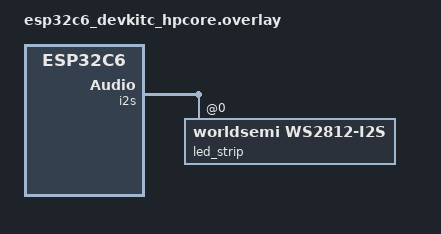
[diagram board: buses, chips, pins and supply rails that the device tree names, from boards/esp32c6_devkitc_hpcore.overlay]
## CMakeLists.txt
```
cmake_minimum_required(VERSION 3.20.0)

find_package(Zephyr REQUIRED HINTS $ENV{ZEPHYR_BASE})
project(korra)

# Produce compile_commands.json for IDE.
# This is produced in the build directory, e.g. `build-frdm_rw612/compile_commands.json`
set(CMAKE_EXPORT_COMPILE_COMMANDS ON)

add_subdirectory(src/credentials)
add_subdirectory(src/cloud)
add_subdirectory(src/events)
add_subdirectory(src/internet)
add_subdirectory(src/sensors)
add_subdirectory(src/time)
add_subdirectory(src/utils)

FILE(GLOB app_sources src/*.c)
target_sources(app PRIVATE ${app_sources})
```

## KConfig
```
mainmenu "Korra Firmware application"

choice
    prompt "Kind of application"

config APP_KIND_POT
    bool "pot"

config APP_KIND_KEEPER
    bool "keeper"

endchoice

source "Kconfig.zephyr"
```

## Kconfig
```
mainmenu "Korra Firmware application"

choice
    prompt "Kind of application"

config APP_KIND_KEEPER
    bool "keeper"

config APP_KIND_POT
    bool "pot"

endchoice

config APP_NAME
    string
    default "Keeper" if APP_KIND_KEEPER
    default "Pot" if APP_KIND_POT

config DEVICE_CERTIFICATE_VALIDITY_YEARS
    int "Number of years the device certificate generated will be valid for"
    default 3

config AZURE_IOT_DPS_ID_SCOPE
    string "Azure IoT DPS ID Scope"
    default "0ne00F7ADA0"
    depends on BOARD_HAS_INTERNET

config SENSORS_READ_PERIOD_SECONDS
    int "Interval for collecting sensor data in seconds"
    default 300

config SNTP_SERVER_ADDRESS
    string "SNTP server address"
    default "uk.pool.ntp.org"
    depends on SNTP

config SNTP_SERVER_TIMEOUT_SECONDS
	int "Duration to wait for response in seconds"
	default 4
    depends on SNTP

config BOARD_HAS_CELLULAR
    bool "Whether to board has Cellular"
    default n
    select BOARD_HAS_INTERNET

config BOARD_HAS_ETHERNET
    bool "Whether to board has Ethernet"
    default n
    select BOARD_HAS_INTERNET
    select NET_ARP

config BOARD_HAS_WIFI
    bool "Whether to board has WiFi"
    default n
    select BOARD_HAS_INTERNET
    select WIFI
    select WIFI_ESP32 if SOC_FAMILY_ESPRESSIF_ESP32
    select WIFI_NRF70 if BOARD_NRF7002DK
    select WIFI_NXP if SOC_SERIES_RW6XX
    select NET_CONNECTION_MANAGER_CONNECTIVITY_WIFI_MGMT if !WIFI_NRF70

    # Not supporting WPA Supplicant because it is experimental (quite buggy)
    # # # TODO: remove these conditions once WPS_SUPPLICANT for ESP32 has been fixed
    # # https://github.com/zephyrproject-rtos/zephyr/issues/91757
    # select WIFI_NM_WPA_SUPPLICANT if !SOC_FAMILY_ESPRESSIF_ESP32
    # select WIFI_NM_WPA_SUPPLICANT_CRYPTO_ENTERPRISE if !SOC_FAMILY_ESPRESSIF_ESP32
    # select WIFI_NM_WPA_SUPPLICANT_ROAMING if !SOC_FAMILY_ESPRESSIF_ESP32
    # select WIFI_NM_WPA_SUPPLICANT_DPP if !SOC_FAMILY_ESPRESSIF_ESP32 && !BOARD_NRF7002DK
    # select WIFI_NM_WPA_SUPPLICANT_CRYPTO_MBEDTLS_PSA if !SOC_FAMILY_ESPRESSIF_ESP32 && !BOARD_NRF7002DK

config BOARD_HAS_INTERNET # Invisible because it has no prompt (no string after bool)
    bool
    select ENTROPY_GENERATOR
    select ENTROPY_ESP32_RNG if SOC_FAMILY_ESPRESSIF_ESP32
    select ENTROPY_MCUX_TRNG if SOC_SERIES_RW6XX
    # Entropy on nRF5340 is only available natively on cpunet but not cpu app
    # In cpuapp you have to use HCI to get random data which means selecting ENTROPY_BT_HCI
    # which requires BT_HCI_HOST or BT either of which bring in the whole Bluetooth stack!
    select TEST_RANDOM_GENERATOR if SOC_NRF5340_CPUAPP
    select ENTROPY_NRF5_RNG if SOC_SERIES_NRF54X
    select NET_CONNECTION_MANAGER
    select NETWORKING
    select NET_LOG # Network debug config
    select NET_L2_ETHERNET # Enable Ethernet (required for WiFi)
    select NET_IPV4
    select NET_IPV6
    select NET_SOCKETS
    select NET_SOCKETS_TLS
    select NET_SOCKETS_SOCKOPT_TLS
    select NET_TCP
    select NET_UDP
    select NET_DHCPV4 # Get IPv4 address from DHCP
    select NET_DHCPV6 # Get IPv6 address from DHCP
    select DNS_RESOLVER # Enable DNS resolver
    select SNTP
    select POSIX_API

if BOARD_HAS_WIFI
config WIFI_SCAN_NETWORKS
    bool "Whether to scan WiFi networks"
    default n

config WIFI_CREDENTIALS_STATIC_TYPE_EAP_PEAP_MSCHAPV2
    bool "EAP-PEAP-MSCHAPV2"
    depends on WIFI_NM_WPA_SUPPLICANT
    default n

config WIFI_CREDENTIALS_STATIC_EAP_ANON_ID
    string "Enterprise Identity (anonymous)"
    default "anonymous"

config WIFI_CREDENTIALS_STATIC_EAP_IDENTITY
    string "Enterprise Identity (Username)"

config WIFI_CREDENTIALS_STATIC_EAP_PASSWORD
    string "Enterprise Password"

endif # BOARD_HAS_WIFI

source "Kconfig.zephyr"
```

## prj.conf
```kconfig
CONFIG_INIT_STACKS=y
CONFIG_HWINFO=y

# CONFIG_WIFI_SCAN_NETWORKS=y

# Static WiFi credentials (OPEN)
CONFIG_WIFI_CREDENTIALS_STATIC=y
CONFIG_WIFI_CREDENTIALS_STATIC_TYPE_OPEN=y
CONFIG_WIFI_CREDENTIALS_STATIC_SSID="ASK4 Wireless"

# Static WiFi credentials (PSK)
# Shell: wifi connect -s "MaxwellsiPhone" -k 1 --passphrase "<password>"
# CONFIG_WIFI_CREDENTIALS_STATIC=y
# CONFIG_WIFI_CREDENTIALS_STATIC_TYPE_PSK=y
# CONFIG_WIFI_CREDENTIALS_STATIC_SSID="MaxwellsiPhone"
# CONFIG_WIFI_CREDENTIALS_STATIC_PASSWORD="<password>"

# Static WiFi credentials (WPA3-SAE-HNP)
# Shell: # wifi connect -s "Levi's S24" -k 3 -w 2 --passphrase "<password>"
# CONFIG_WIFI_CREDENTIALS_STATIC=y
# CONFIG_WIFI_CREDENTIALS_STATIC_TYPE_SAE=y
# CONFIG_WIFI_CREDENTIALS_STATIC_SSID="Levi's S24"
# CONFIG_WIFI_CREDENTIALS_STATIC_PASSWORD="<password>"

# Static WiFi credentials (EAP-PEAP-MSCHAPV2)
# Shell: wifi connect -s "eduroam" -k 12 -I "<username>@ljmu.ac.uk" -P "<password>" -a "anonymous" -V 0
# CONFIG_WIFI_CREDENTIALS_STATIC=y
# CONFIG_WIFI_CREDENTIALS_STATIC_TYPE_EAP_PEAP_MSCHAPV2=y
# CONFIG_WIFI_CREDENTIALS_STATIC_SSID="eduroam"
# CONFIG_WIFI_CREDENTIALS_STATIC_EAP_IDENTITY="<username>@ljmu.ac.uk"
# CONFIG_WIFI_CREDENTIALS_STATIC_EAP_PASSWORD="<password>"

# logging: https://docs.zephyrproject.org/latest/services/logging/index.html
CONFIG_LOG=y
# CONFIG_LOG_MODE_IMMEDIATE=y
CONFIG_LOG_TIMESTAMP_USE_REALTIME=y
CONFIG_LOG_PRINTK=n
CONFIG_LOG_BUFFER_SIZE=2048
CONFIG_LOG_PROCESS_THREAD_STACK_SIZE=1024

CONFIG_EVENTS=y

# Increase stack memory to avoid crashes (at least 6144 for enterprise WiFi)
CONFIG_MAIN_STACK_SIZE=6144
CONFIG_NET_MGMT_EVENT_STACK_SIZE=4096
CONFIG_SYSTEM_WORKQUEUE_STACK_SIZE=6144

# Custom DNS servers (don't want surprises from the network)
CONFIG_DNS_SERVER_IP_ADDRESSES=y
CONFIG_DNS_SERVER1="1.1.1.1" # Cloudflare IPv4
CONFIG_DNS_SERVER2="2606:4700:4700::1111" # Cloudflare IPv6
CONFIG_DNS_SERVER3="8.8.8.8" # Google IPv4
CONFIG_DNS_SERVER4="2001:4860:4860::8888" # Google IPv6

# Enable custom hostname
CONFIG_NET_HOSTNAME_ENABLE=y
CONFIG_NET_HOSTNAME_UNIQUE=y
CONFIG_NET_HOSTNAME="korra-"

# Router is needed when resolving using external DNS servers
CONFIG_NET_CONFIG_NEED_IPV6_ROUTER=n

# printing of scan results puts pressure on queues in new locking
# design in net_mgmt. So, use a higher timeout for a crowded
# environment.
CONFIG_NET_MGMT_EVENT_QUEUE_TIMEOUT=5000
CONFIG_NET_MGMT_EVENT_QUEUE_SIZE=16

# Encryption and TLS
# These MBEDTLS configs are automatically added when CONFIG_WIFI_NM_WPA_SUPPLICANT=y
# We cannot enable it globally yet because builds on some boards fail.
# Other times, we just want to disable it because it can be a bit buggy.
# This is why they are here.
# Copied from external/zephyr/modules/hostap/Kconfig
# from WIFI_NM_WPA_SUPPLICANT_CRYPTO_ALT
CONFIG_MBEDTLS=y
CONFIG_MBEDTLS_CIPHER_MODE_CTR_ENABLED=y
CONFIG_MBEDTLS_CIPHER_MODE_CBC_ENABLED=y
CONFIG_MBEDTLS_CIPHER_AES_ENABLED=y
CONFIG_MBEDTLS_CIPHER_DES_ENABLED=y
CONFIG_MBEDTLS_MD5=y
CONFIG_MBEDTLS_SHA1=y
CONFIG_MBEDTLS_SHA384=y
CONFIG_MBEDTLS_ENTROPY_C=y
CONFIG_MBEDTLS_CIPHER=y
CONFIG_MBEDTLS_ECP_C=y
CONFIG_MBEDTLS_ECP_ALL_ENABLED=y
CONFIG_MBEDTLS_CMAC=y
CONFIG_MBEDTLS_PKCS5_C=y
CONFIG_MBEDTLS_PK_WRITE_C=y
CONFIG_MBEDTLS_ECDH_C=y
CONFIG_MBEDTLS_ECDSA_C=y
CONFIG_MBEDTLS_KEY_EXCHANGE_ECDHE_PSK_ENABLED=y
CONFIG_MBEDTLS_RSA_C=y
CONFIG_MBEDTLS_PKCS1_V15=y
CONFIG_MBEDTLS_PKCS1_V21=y
CONFIG_MBEDTLS_KEY_EXCHANGE_ECDHE_RSA_ENABLED=y
CONFIG_MBEDTLS_NIST_KW_C=y
CONFIG_MBEDTLS_DHM_C=y
CONFIG_MBEDTLS_HKDF_C=y
# from WIFI_NM_WPA_SUPPLICANT_CRYPTO_MBEDTLS_PSA
CONFIG_MBEDTLS_PSA_CRYPTO_C=y
CONFIG_MBEDTLS_USE_PSA_CRYPTO=y
CONFIG_PSA_WANT_ALG_ECDH=y
CONFIG_PSA_WANT_ALG_HMAC=y
CONFIG_PSA_WANT_ALG_CCM=y
CONFIG_PSA_WANT_ALG_CTR=y
CONFIG_PSA_WANT_ALG_MD5=y
CONFIG_PSA_WANT_ALG_SHA_1=y
CONFIG_PSA_WANT_ALG_SHA_256=y
CONFIG_PSA_WANT_ALG_SHA_224=y
CONFIG_PSA_WANT_ALG_SHA_384=y
CONFIG_PSA_WANT_ALG_SHA_512=y
CONFIG_PSA_WANT_ALG_PBKDF2_HMAC=y
CONFIG_PSA_WANT_ALG_CMAC=y
CONFIG_PSA_WANT_ALG_PBKDF2_AES_CMAC_PRF_128=y
CONFIG_PSA_WANT_KEY_TYPE_AES=y
CONFIG_PSA_WANT_KEY_TYPE_ECC_PUBLIC_KEY=y
CONFIG_PSA_WANT_KEY_TYPE_RSA_PUBLIC_KEY=y
# from WIFI_NM_WPA_SUPPLICANT_CRYPTO_ENTERPRISE
CONFIG_MBEDTLS_PEM_CERTIFICATE_FORMAT=y
CONFIG_MBEDTLS_SERVER_NAME_INDICATION=y
CONFIG_MBEDTLS_X509_CRL_PARSE_C=y
CONFIG_MBEDTLS_TLS_VERSION_1_2=y
# from WIFI_NM_WPA_SUPPLICANT_DPP
CONFIG_MBEDTLS_X509_CSR_WRITE_C=y
CONFIG_MBEDTLS_X509_CSR_PARSE_C=y
# from WIFI_NM_WPA_SUPPLICANT_CRYPTO_ENTERPRISE (further in the page)
CONFIG_MBEDTLS_SSL_MAX_CONTENT_LEN=16384
# For TLS and X.509 processing MbedTLS needs large heap size and using separate heap
# for it gives us more control over the heap size.
CONFIG_MBEDTLS_ENABLE_HEAP=y
CONFIG_MBEDTLS_HEAP_SIZE=50000
# CONFIG_MBEDTLS_HEAP_SIZE=69952
# CONFIG_MBEDTLS_HEAP_SIZE=100000
# These are for supporting device certificate support
CONFIG_PSA_WANT_ALG_ECDSA=y
CONFIG_PSA_WANT_KEY_TYPE_ECC_KEY_PAIR_IMPORT=y
CONFIG_PSA_WANT_KEY_TYPE_ECC_KEY_PAIR_EXPORT=y
CONFIG_PSA_WANT_KEY_TYPE_ECC_KEY_PAIR_GENERATE=y
CONFIG_PSA_WANT_KEY_TYPE_ECC_KEY_PAIR_DERIVE=y
CONFIG_MBEDTLS_KEY_EXCHANGE_ECDHE_ECDSA_ENABLED=y
CONFIG_MBEDTLS_X509_CRT_WRITE_C=y
# These add support for TLSv1.3
CONFIG_MBEDTLS_TLS_VERSION_1_3=y
CONFIG_PSA_WANT_ALG_HKDF_EXTRACT=y
CONFIG_PSA_WANT_ALG_HKDF_EXPAND=y

# EAP frames are large bytes, so
# - for efficiency, we increase the data size
# - need higher packet counts as default packet size is 128
CONFIG_NET_BUF_DATA_SIZE=1744
CONFIG_NET_PKT_TX_COUNT=36
CONFIG_NET_PKT_RX_COUNT=36
CONFIG_NET_BUF_TX_COUNT=40
CONFIG_NET_BUF_RX_COUNT=40

CONFIG_FLASH=y
CONFIG_FLASH_MAP=y
CONFIG_SETTINGS=y
CONFIG_NVS=y # using NVS instead of ZMS because it does not work with ESP32 yet
CONFIG_SETTINGS_NVS=y

CONFIG_TLS_CREDENTIALS=y
# CONFIG_TLS_CREDENTIALS_BACKEND_PROTECTED_STORAGE=y
CONFIG_TLS_MAX_CREDENTIALS_NUMBER=10

CONFIG_WIFI_CREDENTIALS=y
CONFIG_WIFI_CREDENTIALS_CONNECT_STORED=y
CONFIG_WIFI_CREDENTIALS_MAX_ENTRIES=4

CONFIG_MQTT_LIB=y
CONFIG_MQTT_LIB_TLS=y

# CONFIG_FLASH_LOG_LEVEL_DBG=y
# CONFIG_FLASH_LOG_LEVEL_INF=y
CONFIG_FLASH_LOG_LEVEL_WRN=y
# CONFIG_FLASH_LOG_LEVEL_ERR=y

# CONFIG_SETTINGS_LOG_LEVEL_DBG=y
# CONFIG_SETTINGS_LOG_LEVEL_INF=y
CONFIG_SETTINGS_LOG_LEVEL_WRN=y
# CONFIG_SETTINGS_LOG_LEVEL_ERR=y

# CONFIG_NVS_LOG_LEVEL_DBG=y
# CONFIG_NVS_LOG_LEVEL_INF=y
CONFIG_NVS_LOG_LEVEL_WRN=y
# CONFIG_NVS_LOG_LEVEL_ERR=y

# CONFIG_WIFI_CREDENTIALS_LOG_LEVEL_DBG=y
# CONFIG_WIFI_CREDENTIALS_LOG_LEVEL_INF=y
CONFIG_WIFI_CREDENTIALS_LOG_LEVEL_WRN=y
# CONFIG_WIFI_CREDENTIALS_LOG_LEVEL_ERR=y

# CONFIG_TLS_CREDENTIALS_LOG_LEVEL_DBG=y
# CONFIG_TLS_CREDENTIALS_LOG_LEVEL_INF=y
CONFIG_TLS_CREDENTIALS_LOG_LEVEL_WRN=y
# CONFIG_TLS_CREDENTIALS_LOG_LEVEL_ERR=y

# CONFIG_WIFI_LOG_LEVEL_DBG=y
# CONFIG_WIFI_LOG_LEVEL_INF=y
CONFIG_WIFI_LOG_LEVEL_WRN=y
# CONFIG_WIFI_LOG_LEVEL_ERR=y

# CONFIG_NET_IF_LOG_LEVEL_DBG=y
# CONFIG_NET_IF_LOG_LEVEL_INF=y
CONFIG_NET_IF_LOG_LEVEL_WRN=y
# CONFIG_NET_IF_LOG_LEVEL_ERR=y

# CONFIG_NET_MGMT_EVENT_LOG_LEVEL_DBG=y
# CONFIG_NET_MGMT_EVENT_LOG_LEVEL_INF=y
CONFIG_NET_MGMT_EVENT_LOG_LEVEL_WRN=y
# CONFIG_NET_MGMT_EVENT_LOG_LEVEL_ERR=y

# CONFIG_NET_DHCPV6_LOG_LEVEL_DBG=y
# CONFIG_NET_DHCPV6_LOG_LEVEL_INF=y
CONFIG_NET_DHCPV6_LOG_LEVEL_WRN=y
# CONFIG_NET_DHCPV6_LOG_LEVEL_ERR=y

# CONFIG_NET_SOCKETS_LOG_LEVEL_DBG=y
# CONFIG_NET_SOCKETS_LOG_LEVEL_INF=y
CONFIG_NET_SOCKETS_LOG_LEVEL_WRN=y
# CONFIG_NET_SOCKETS_LOG_LEVEL_ERR=y

# CONFIG_DNS_RESOLVER_LOG_LEVEL_DBG=y
# CONFIG_DNS_RESOLVER_LOG_LEVEL_INF=y
CONFIG_DNS_RESOLVER_LOG_LEVEL_WRN=y
# CONFIG_DNS_RESOLVER_LOG_LEVEL_ERR=y

# CONFIG_SNTP_LOG_LEVEL_DBG=y
# CONFIG_SNTP_LOG_LEVEL_INF=y
CONFIG_SNTP_LOG_LEVEL_WRN=y
# CONFIG_SNTP_LOG_LEVEL_ERR=y

# CONFIG_MQTT_LOG_LEVEL_DBG=y
# CONFIG_MQTT_LOG_LEVEL_INF=y
CONFIG_MQTT_LOG_LEVEL_WRN=y
# CONFIG_MQTT_LOG_LEVEL_ERR=y

# CONFIG_MBEDTLS_DEBUG=y
# CONFIG_MBEDTLS_LOG_LEVEL_DBG=y
# CONFIG_MBEDTLS_LOG_LEVEL_INF=y
# CONFIG_MBEDTLS_LOG_LEVEL_WRN=y
CONFIG_MBEDTLS_LOG_LEVEL_ERR=y
```

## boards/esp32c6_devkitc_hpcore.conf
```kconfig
# Board
CONFIG_BOARD_HAS_WIFI=y # Enable WiFi

# LED STRIP
CONFIG_LED_STRIP=y
# CONFIG_LED_STRIP_LOG_LEVEL_DBG=y
# CONFIG_LED_STRIP_LOG_LEVEL_INF=y
CONFIG_LED_STRIP_LOG_LEVEL_WRN=y
# CONFIG_LED_STRIP_LOG_LEVEL_ERR=y

# For some reason there are a bunch of noises
CONFIG_NET_IF_LOG_LEVEL_ERR=y
```

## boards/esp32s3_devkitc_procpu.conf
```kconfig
# Board
CONFIG_BOARD_HAS_WIFI=y # Enable WiFi

# PSRAM
# external/zephyr/soc/espressif/common/Kconfig.spiram
# external/zephyr/soc/espressif/esp32s3/Kconfig
CONFIG_ESP_SPIRAM=y
CONFIG_SPIRAM_MODE_OCT=y
CONFIG_SPIRAM_SPEED_80M=y
CONFIG_ESP32S3_DATA_CACHE_64KB=y

# WiFi (external/zephyr/drivers/wifi/esp32/Kconfig.esp32)
# Store the heap in SPIRAM to have more space for the application stuff
CONFIG_ESP_WIFI_HEAP_SPIRAM=y
CONFIG_ESP32_WIFI_NET_ALLOC_SPIRAM=y

# LED STRIP
CONFIG_LED_STRIP=y
# CONFIG_LED_STRIP_LOG_LEVEL_DBG=y
# CONFIG_LED_STRIP_LOG_LEVEL_INF=y
CONFIG_LED_STRIP_LOG_LEVEL_WRN=y
# CONFIG_LED_STRIP_LOG_LEVEL_ERR=y

# For some reason there are a bunch of noises
CONFIG_NET_IF_LOG_LEVEL_ERR=y
```

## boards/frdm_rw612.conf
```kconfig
# Board
CONFIG_BOARD_HAS_WIFI=y # Enable WiFi

CONFIG_NXP_RW610=y
CONFIG_ETH_DRIVER=n

# We get warnings that do not make much sense so we just increase the count
CONFIG_NET_IF_MAX_IPV4_COUNT=2
CONFIG_NET_IF_MAX_IPV6_COUNT=2

CONFIG_SPEED_OPTIMIZATIONS=y
```

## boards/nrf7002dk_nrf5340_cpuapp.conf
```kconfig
# Board
CONFIG_BOARD_HAS_WIFI=y # Enable WiFi
```

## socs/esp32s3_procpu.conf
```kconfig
CONFIG_ESP32_WIFI_STA_AUTO_DHCPV4=y

# These are disabled here because ESP32 does not have PSA (it is ARM specific?)
CONFIG_WIFI_CREDENTIALS_BACKEND_PSA=n
CONFIG_TLS_CREDENTIALS_BACKEND_PROTECTED_STORAGE=n
CONFIG_WIFI_NM_WPA_SUPPLICANT_CRYPTO_MBEDTLS_PSA=n

# These mbed configs are automatically added when CONFIG_WIFI_NM_WPA_SUPPLICANT=y
# We cannot do CONFIG_WIFI_NM_WPA_SUPPLICANT=y globally yet because ESP32 builds fail
# Once fixed we can remove them all.
# Copied from external/zephyr/modules/hostap/Kconfig
# from WIFI_NM_WPA_SUPPLICANT_CRYPTO_ALT
CONFIG_MBEDTLS=y
CONFIG_MBEDTLS_CIPHER_MODE_CTR_ENABLED=y
CONFIG_MBEDTLS_CIPHER_MODE_CBC_ENABLED=y
CONFIG_MBEDTLS_CIPHER_AES_ENABLED=y
CONFIG_MBEDTLS_CIPHER_DES_ENABLED=y
CONFIG_MBEDTLS_MD5=y
CONFIG_MBEDTLS_SHA1=y
CONFIG_MBEDTLS_SHA384=y
CONFIG_MBEDTLS_ENTROPY_C=y
CONFIG_MBEDTLS_CIPHER=y
CONFIG_MBEDTLS_ECP_C=y
CONFIG_MBEDTLS_ECP_ALL_ENABLED=y
CONFIG_MBEDTLS_CMAC=y
CONFIG_MBEDTLS_PKCS5_C=y
CONFIG_MBEDTLS_PK_WRITE_C=y
CONFIG_MBEDTLS_ECDH_C=y
CONFIG_MBEDTLS_ECDSA_C=y
CONFIG_MBEDTLS_KEY_EXCHANGE_ECDHE_PSK_ENABLED=y
CONFIG_MBEDTLS_RSA_C=y
CONFIG_MBEDTLS_PKCS1_V15=y
CONFIG_MBEDTLS_PKCS1_V21=y
CONFIG_MBEDTLS_KEY_EXCHANGE_ECDHE_RSA_ENABLED=y
CONFIG_MBEDTLS_NIST_KW_C=y
CONFIG_MBEDTLS_DHM_C=y
CONFIG_MBEDTLS_HKDF_C=y
# from WIFI_NM_WPA_SUPPLICANT_CRYPTO_MBEDTLS_PSA
CONFIG_MBEDTLS_PSA_CRYPTO_C=y
CONFIG_MBEDTLS_USE_PSA_CRYPTO=y
CONFIG_PSA_WANT_ALG_ECDH=y
CONFIG_PSA_WANT_ALG_HMAC=y
CONFIG_PSA_WANT_ALG_CCM=y
CONFIG_PSA_WANT_ALG_CTR=y
CONFIG_PSA_WANT_ALG_MD5=y
CONFIG_PSA_WANT_ALG_SHA_1=y
CONFIG_PSA_WANT_ALG_SHA_256=y
CONFIG_PSA_WANT_ALG_SHA_224=y
CONFIG_PSA_WANT_ALG_SHA_384=y
CONFIG_PSA_WANT_ALG_SHA_512=y
CONFIG_PSA_WANT_ALG_PBKDF2_HMAC=y
CONFIG_PSA_WANT_ALG_CMAC=y
CONFIG_PSA_WANT_ALG_PBKDF2_AES_CMAC_PRF_128=y
CONFIG_PSA_WANT_KEY_TYPE_AES=y
CONFIG_PSA_WANT_KEY_TYPE_ECC_PUBLIC_KEY=y
CONFIG_PSA_WANT_KEY_TYPE_RSA_PUBLIC_KEY=y
# from WIFI_NM_WPA_SUPPLICANT_CRYPTO_ENTERPRISE
CONFIG_MBEDTLS_PEM_CERTIFICATE_FORMAT=y
CONFIG_MBEDTLS_SERVER_NAME_INDICATION=y
CONFIG_MBEDTLS_X509_CRL_PARSE_C=y
CONFIG_MBEDTLS_TLS_VERSION_1_2=y
# from WIFI_NM_WPA_SUPPLICANT_DPP
CONFIG_MBEDTLS_X509_CSR_WRITE_C=y
CONFIG_MBEDTLS_X509_CSR_PARSE_C=y
#from WIFI_NM_WPA_SUPPLICANT_CRYPTO_ENTERPRISE (further in the page)
CONFIG_MBEDTLS_SSL_MAX_CONTENT_LEN=16384
```

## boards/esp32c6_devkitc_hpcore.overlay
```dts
#include <zephyr/dt-bindings/led/led.h>

/ {
	aliases {
		led-strip = &led_strip;
	};
};

i2s_led: &i2s {
	status = "okay";
	pinctrl-0 = <&i2s_default>;
	pinctrl-names = "default";

	dmas = <&dma 3>;
	dma-names = "tx";

	led_strip: ws2812@0 {
		compatible = "worldsemi,ws2812-i2s";

		reg = <0>;
		chain-length = <1>;
		color-mapping = <LED_COLOR_ID_GREEN
				 LED_COLOR_ID_RED
				 LED_COLOR_ID_BLUE>;
		reset-delay = <500>;
	};
};

&dma {
	status = "okay";
};

&pinctrl {
	i2s_default: i2s_default {
		group1 {
			pinmux = <I2S_MCLK_GPIO6>,
				 <I2S_O_WS_GPIO5>,
				 <I2S_O_BCK_GPIO4>,
				 <I2S_O_SD_GPIO8>;
		};
		group2 {
			pinmux = <I2S_I_SD_GPIO2>;
		};
	};
};
```

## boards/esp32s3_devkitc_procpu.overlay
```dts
#include <zephyr/dt-bindings/led/led.h>

/ {
	aliases {
		led-strip = &led_strip;
	};
};

i2s_led: &i2s0 {
	status = "okay";

	pinctrl-0 = <&i2s0_pinconf>;

	dmas = <&dma 3>;
	dma-names = "tx";

	led_strip: ws2812@0 {
		compatible = "worldsemi,ws2812-i2s";

		reg = <0>;
		chain-length = <1>;
		color-mapping = <LED_COLOR_ID_GREEN
				 LED_COLOR_ID_RED
				 LED_COLOR_ID_BLUE>;
		reset-delay = <500>;
	};
};

&dma {
	status = "okay";
};

&pinctrl {
	i2s0_pinconf: i2s0_pinconf {
		group1 {
			pinmux = <I2S0_O_SD_GPIO38>;
			output-enable;
		};
	};
};

&psram0 {
  size = <DT_SIZE_M(8)>;
};

// &soc-nv-flash {
//     size = <DT_SIZE_M(32)>;
//     partitions {
//         compatible = "fixed-partitions";
//         #address-cells = <1>;
//         #size-cells    = <1>;

//         mcuboot: partition@0 {
//             label = "mcuboot";
//             reg   = <0x0000 0x1000>;
//         };
//         app: partition@1000 {
//             label = "application";
//             reg   = <0x1000 0x400000>;
//         };
//         /* …more partitions… */
//     };
// };
```

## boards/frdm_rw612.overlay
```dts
&standby {
	status = "okay";
};
```

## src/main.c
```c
#include <zephyr/logging/log.h>
LOG_MODULE_REGISTER(main, LOG_LEVEL_DBG);

#include <zephyr/drivers/hwinfo.h>
#include <zephyr/kernel.h>
#include <zephyr/net/hostname.h>

#include <app_version.h>
#include <korra_cloud.h>
#include <korra_credentials.h>
#include <korra_internet.h>
#include <korra_sensors.h>
#include <korra_time.h>

#ifndef CONFIG_ARM
#define SystemCoreClock CONFIG_SYS_CLOCK_HW_CYCLES_PER_SEC
#endif

int main(void) {
  // Log application version matching Kernel: *** Booting Zephyr OS build v4.1.0 ***
  printk("*** Booting Korra %s build v%s (%s) ***\n", CONFIG_APP_NAME, APP_VERSION_STRING,
         STRINGIFY(APP_BUILD_VERSION));
  printk("*** Running Board %s at %d MHz ***\n", CONFIG_BOARD, SystemCoreClock / MHZ(1));
  printk("*** Hostname: %s ***\n", net_hostname_get());

  // Most ARM devices have 96bit or 128bit ones but ESP32 has 64bit or less (when it is the Mac)
  // We allocate 16 byte buffer to accommodate for 128bit (128/8=16)
  uint8_t raw_devid[16] = {0};
  ssize_t raw_devid_len = hwinfo_get_device_id(raw_devid, sizeof(raw_devid));
  if (raw_devid_len <= 0) {
    LOG_WRN("Unable to get device ID: %d", raw_devid_len);
    return raw_devid_len;
  }

  // Generate the string version of the device id, no dashes so that it is easy to copy from terminal
  size_t devid_len = (raw_devid_len * 2) + 1;
  char devid[devid_len];
  for (size_t i = 0; i < raw_devid_len; ++i) {
    sprintf(devid + (i * 2), "%02x", raw_devid[i]);
  }
  devid_len--;
  printk("*** Device ID: %s (%d raw bytes) ***\n", devid, raw_devid_len);

  // Prepare credentials used in the system
  // korra_credentials_clear();
  korra_credentials_init(devid, (size_t)devid_len);

  // Print the device certificate for ease with provisioning
  size_t devcert_len = korra_credentials_get_device_cert(NULL, 0);
  if (devcert_len > 1) {
    char *devcert = k_malloc(devcert_len);
    devcert_len = korra_credentials_get_device_cert(devcert, devcert_len);
    printk("Device certificate to use for provisioning:\n%s\n", devcert);
    k_free(devcert);
  } else {
    LOG_WRN("Seems the device certificate for provisioning does not exist. Did you forget to call "
            "korra_credentials_init(...)?");
  }

  korra_time_init();
  korra_sensors_init();
  korra_internet_init();
  korra_cloud_init(devid, (size_t)devid_len);

  korra_internet_connect();

  k_sleep(K_FOREVER);
  return 0;
}
```

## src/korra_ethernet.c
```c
#ifdef CONFIG_BOARD_HAS_ETHERNET
#include <zephyr/logging/log.h>
LOG_MODULE_REGISTER(korra_ethernet, LOG_LEVEL_INF);

#include <errno.h>
#include <zephyr/kernel.h>
#include <zephyr/net/ethernet_mgmt.h>

#include "korra_utils.h"
#include "korra_ethernet.h"

#define get_ethernet_iface net_if_get_default

static struct net_mgmt_event_callback ethernet_cb;

static void ethernet_event_handler(struct net_mgmt_event_callback *cb, uint64_t mgmt_event, struct net_if *iface);

void korra_ethernet_init()
{
    LOG_DBG("Initializing");

    struct net_if *iface = get_ethernet_iface();
    struct net_linkaddr *linkaddr = net_if_get_link_addr(iface);
    if (linkaddr && linkaddr->len == NET_ETH_ADDR_LEN) {
        LOG_INF("Mac Address: " FMT_LL_ADDR_6, PRINT_LL_ADDR_6(linkaddr->addr));
	}

    // Initialize and add event callbacks for ethernet
    net_mgmt_init_event_callback(&ethernet_cb,
                                 ethernet_event_handler,
                                 NET_EVENT_ETHERNET_CARRIER_ON | NET_EVENT_ETHERNET_CARRIER_OFF);
    net_mgmt_add_event_callback(&ethernet_cb);
}

static void ethernet_event_handler(struct net_mgmt_event_callback *cb, uint64_t mgmt_event, struct net_if *iface)
{
    if (mgmt_event == NET_EVENT_ETHERNET_CARRIER_ON)
    {
        LOG_INF("Connected!");
    }
    else if (mgmt_event == NET_EVENT_ETHERNET_CARRIER_OFF)
    {
        LOG_INF("Disconnected!");
    }
}

#endif // CONFIG_BOARD_HAS_ETHERNET
```

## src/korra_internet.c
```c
#include <zephyr/logging/log.h>
LOG_MODULE_REGISTER(korra_internet, LOG_LEVEL_INF);

#include <errno.h>
#include <zephyr/kernel.h>
#include <zephyr/net/conn_mgr_connectivity.h>

#include "korra_internet.h"

#ifdef CONFIG_BOARD_HAS_ETHERNET
#include "korra_ethernet.h"
#endif // CONFIG_BOARD_HAS_ETHERNET

#ifdef CONFIG_BOARD_HAS_WIFI
#include "korra_wifi.h"
#endif // CONFIG_BOARD_HAS_WIFI

#define NETWORK_EVENTS (NET_EVENT_L4_CONNECTED | NET_EVENT_L4_DISCONNECTED)

K_SEM_DEFINE(network_connected, 0, 1);

static struct net_mgmt_event_callback network_cb;
static void network_event_handler(struct net_mgmt_event_callback *cb, uint64_t mgmt_event, struct net_if *iface);

void korra_internet_init()
{
	LOG_DBG("Setting up");

	// Register callbacks for connection manager or IP assignment
	net_mgmt_init_event_callback(&network_cb, network_event_handler, NETWORK_EVENTS);
	net_mgmt_add_event_callback(&network_cb);

#ifdef CONFIG_BOARD_HAS_ETHERNET
	korra_ethernet_init();
#endif // CONFIG_BOARD_HAS_ETHERNET

#ifdef CONFIG_BOARD_HAS_WIFI
	korra_wifi_init();
}

int korra_internet_connect()
{
	int ret = 0;

#ifdef CONFIG_WIFI_SCAN_NETWORKS
	ret = korra_wifi_scan(K_FOREVER);
	if (ret)
	{
		return ret;
	}
#else
	// This delay is to allow some drivers/modules to initialize (e.g. WPA_SUPPLICANT)
	// Basically waiting until we see this log ---> <inf> wifi_supplicant: wpa_supplicant initialized
	// We only need this if we are not scanning because scanning does the delay already.
#ifdef CONFIG_WIFI_NM_WPA_SUPPLICANT
	k_sleep(K_SECONDS(1));
#endif // CONFIG_WIFI_NM_WPA_SUPPLICANT
#endif // CONFIG_WIFI_SCAN_NETWORKS

	ret = korra_wifi_connect();
	if (ret)
	{
		return ret;
	}
#endif // CONFIG_BOARD_HAS_WIFI

	return ret;
}

static void network_event_handler(struct net_mgmt_event_callback *cb, uint64_t mgmt_event, struct net_if *iface)
{
	if (mgmt_event == NET_EVENT_L4_CONNECTED)
	{
		LOG_INF("Network connectivity gained!");
		k_sem_give(&network_connected);
	}
	else if (mgmt_event == NET_EVENT_L4_DISCONNECTED)
	{
		LOG_INF("Network connectivity lost!");
		k_sem_take(&network_connected, K_FOREVER);
	}
}
```

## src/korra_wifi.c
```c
#ifdef CONFIG_BOARD_HAS_WIFI
#include <zephyr/logging/log.h>
LOG_MODULE_REGISTER(korra_wifi, LOG_LEVEL_INF);

#include <errno.h>

#include "korra_utils.h"
#include "korra_wifi.h"

#define get_wifi_iface net_if_get_wifi_sta

static struct k_work_delayable wifi_reconnect_work;
static void wifi_reconnect_work_handler(struct k_work *work);

static struct net_mgmt_event_callback wifi_mgmt_cb;
static void wifi_mgmt_event_handler(struct net_mgmt_event_callback *cb, uint64_t mgmt_event, struct net_if *iface);
static void wifi_status_print(struct wifi_iface_status *status);

#ifdef CONFIG_WIFI_NM_WPA_SUPPLICANT_CRYPTO_ENTERPRISE
static const char ca_cert_test[] = {
#include <wifi_enterprise_test_certs/ca.pem.inc>
    '\0'};

static const char client_cert_test[] = {
#include <wifi_enterprise_test_certs/client.pem.inc>
    '\0'};

static const char client_key_test[] = {
#include <wifi_enterprise_test_certs/client-key.pem.inc>
    '\0'};

static const char ca_cert2_test[] = {
#include <wifi_enterprise_test_certs/ca2.pem.inc>
    '\0'};

static const char client_cert2_test[] = {
#include <wifi_enterprise_test_certs/client2.pem.inc>
    '\0'};

static const char client_key2_test[] = {
#include <wifi_enterprise_test_certs/client-key2.pem.inc>
    '\0'};
#endif // CONFIG_WIFI_NM_WPA_SUPPLICANT_CRYPTO_ENTERPRISE

void korra_wifi_init()
{
    LOG_DBG("Initializing");

    struct net_if *iface = get_wifi_iface();
    struct net_linkaddr *linkaddr = net_if_get_link_addr(iface);
    if (linkaddr && linkaddr->len == WIFI_MAC_ADDR_LEN)
    {
        LOG_INF("Mac Address: " FMT_LL_ADDR_6, PRINT_LL_ADDR_6(linkaddr->addr));
    }

    // Initialize and add event callbacks for management
    net_mgmt_init_event_callback(&wifi_mgmt_cb,
                                 wifi_mgmt_event_handler,
                                 NET_EVENT_WIFI_CONNECT_RESULT | NET_EVENT_WIFI_DISCONNECT_RESULT);
    net_mgmt_add_event_callback(&wifi_mgmt_cb);

    // Initialize work item for reconnection
    k_work_init_delayable(&wifi_reconnect_work, wifi_reconnect_work_handler);
}

int korra_wifi_status(struct wifi_iface_status *status)
{
    struct net_if *iface = get_wifi_iface();
    int ret = net_mgmt(NET_REQUEST_WIFI_IFACE_STATUS, iface, status, sizeof(struct wifi_iface_status));
    if (ret)
    {
        LOG_WRN("Status command failed: %d", ret);
        return ret;
    }

    return 0;
}

int korra_wifi_connect()
{
    int ret;
    struct net_if *iface = get_wifi_iface();
    struct wifi_connect_req_params con_req_params = {0};

    /* Defaults */
    con_req_params.band = WIFI_FREQ_BAND_UNKNOWN;
    con_req_params.channel = WIFI_CHANNEL_ANY;
    con_req_params.security = WIFI_SECURITY_TYPE_NONE;
    con_req_params.mfp = WIFI_MFP_OPTIONAL;
    con_req_params.eap_ver = 1;
    con_req_params.verify_peer_cert = false;

    con_req_params.ssid = CONFIG_WIFI_SSID;
    con_req_params.ssid_length = strlen(con_req_params.ssid);

#ifdef CONFIG_WIFI_ENTERPRISE
    con_req_params.security = WIFI_SECURITY_TYPE_EAP_TTLS_MSCHAPV2;
    con_req_params.anon_id = CONFIG_WIFI_ENTERPRISE_ANON_ID;
    con_req_params.aid_length = strlen(con_req_params.anon_id);
    con_req_params.eap_identity = CONFIG_WIFI_ENTERPRISE_IDENTITY;
    con_req_params.eap_id_length = strlen(con_req_params.eap_identity);
    con_req_params.eap_password = CONFIG_WIFI_ENTERPRISE_PASSWORD;
    con_req_params.eap_passwd_length = strlen(con_req_params.eap_password);

    con_req_params.identities[0] = con_req_params.eap_identity;
    con_req_params.nusers = 1;
    con_req_params.passwords[0] = con_req_params.eap_password;
    con_req_params.passwds = 1;
#else
    if (strlen(CONFIG_WIFI_PSK) > 0)
    {
        con_req_params.security = WIFI_SECURITY_TYPE_PSK;
        con_req_params.psk = CONFIG_WIFI_PSK;
        con_req_params.psk_length = strlen(CONFIG_WIFI_PSK);
    }
#endif

    if (con_req_params.security == WIFI_SECURITY_TYPE_EAP_TLS ||
        con_req_params.security == WIFI_SECURITY_TYPE_EAP_PEAP_MSCHAPV2 ||
        con_req_params.security == WIFI_SECURITY_TYPE_EAP_PEAP_GTC ||
        con_req_params.security == WIFI_SECURITY_TYPE_EAP_TTLS_MSCHAPV2 ||
        con_req_params.security == WIFI_SECURITY_TYPE_EAP_PEAP_TLS)
    {

#ifdef CONFIG_WIFI_NM_WPA_SUPPLICANT_CRYPTO_ENTERPRISE
        struct wifi_enterprise_creds_params ent_params = {0};
        ent_params.ca_cert = (uint8_t *)ca_cert_test;
        ent_params.ca_cert_len = ARRAY_SIZE(ca_cert_test);
        ent_params.client_cert = (uint8_t *)client_cert_test;
        ent_params.client_cert_len = ARRAY_SIZE(client_cert_test);
        ent_params.client_key = (uint8_t *)client_key_test;
        ent_params.client_key_len = ARRAY_SIZE(client_key_test);
        ent_params.ca_cert2 = (uint8_t *)ca_cert2_test;
        ent_params.ca_cert2_len = ARRAY_SIZE(ca_cert2_test);
        ent_params.client_cert2 = (uint8_t *)client_cert2_test;
        ent_params.client_cert2_len = ARRAY_SIZE(client_cert2_test);
        ent_params.client_key2 = (uint8_t *)client_key2_test;
        ent_params.client_key2_len = ARRAY_SIZE(client_key2_test);

        ret = net_mgmt(NET_REQUEST_WIFI_ENTERPRISE_CREDS, iface, &ent_params, sizeof(ent_params));
        if (ret)
        {
            LOG_WRN("Set enterprise credentials failed: %d", ret);
            return ret;
        }
#else
        LOG_ERR("Security configured to enterprise but CONFIG_WIFI_NM_WPA_SUPPLICANT_CRYPTO_ENTERPRISE is not set");
        return -ENOTSUP;
#endif // CONFIG_WIFI_NM_WPA_SUPPLICANT_CRYPTO_ENTERPRISE
    }

    // Connect to the WiFi network
    LOG_INF("Connecting to \"%s\"", con_req_params.ssid);
    ret = net_mgmt(NET_REQUEST_WIFI_CONNECT, iface, &con_req_params, sizeof(con_req_params));
    ret = ret == -EALREADY ? 0 : ret; // skip if already connected
    if (ret)
    {
        LOG_ERR("Connect command failed: %d", ret);
    }

    return ret;
}

static void wifi_status_print(struct wifi_iface_status *status)
{
    LOG_DBG("Link Mode: %s", wifi_link_mode_txt(status->link_mode));
    LOG_DBG("SSID: %.32s", status->ssid);
    LOG_DBG("BSSID: " FMT_LL_ADDR_6, PRINT_LL_ADDR_6(status->bssid));
    LOG_DBG("Band: %s", wifi_band_txt(status->band));
    LOG_DBG("Channel: %d", status->channel);
    LOG_DBG("Security: %s", wifi_security_txt(status->security));
    LOG_DBG("RSSI: %d", status->rssi);
}

static void wifi_mgmt_event_handler(struct net_mgmt_event_callback *cb, uint64_t mgmt_event, struct net_if *iface)
{
    const struct wifi_status *status = (const struct wifi_status *)cb->info;

    if (mgmt_event == NET_EVENT_WIFI_CONNECT_RESULT)
    {
        if (status->status)
        {
#ifndef CONFIG_WIFI_ESP32
            // Retry in 5 seconds
            LOG_ERR("Connection request failed: %d. Retrying in 5 sec ...", status->status);
            k_work_schedule(&wifi_reconnect_work, K_SECONDS(5));
#else
            LOG_ERR("Connection request failed: %d", status->status);
#endif // CONFIG_WIFI_ESP32
        }
        else
        {
            LOG_INF("Connected! conn_status: %d", status->conn_status);
            struct wifi_iface_status wstatus = {0};
            korra_wifi_status(&wstatus);
            wifi_status_print(&wstatus);
        }
    }
    else if (mgmt_event == NET_EVENT_WIFI_DISCONNECT_RESULT)
    {
        if (status->status)
        {
            LOG_ERR("Disconnection request failed: %d", status->status);
        }
        else
        {
            // Retry in 5 seconds
            LOG_INF("Disconnected! disconn_reason: %d. Retrying in 5 sec ...", status->disconn_reason);
            k_work_schedule(&wifi_reconnect_work, K_SECONDS(5));
        }
    }
}

static void wifi_reconnect_work_handler(struct k_work *work)
{
    int ret = korra_wifi_connect();
    if (ret)
    {
        // Schedule reconnection in 30 sec (longer to skip errors)
        k_work_schedule(&wifi_reconnect_work, K_SECONDS(30));
    }
}

#ifdef CONFIG_WIFI_SCAN_NETWORKS
static uint32_t scan_result;
static struct net_mgmt_event_callback wifi_scan_cb;
static K_SEM_DEFINE(sem_wifi_scan, 0, 1);
static void wifi_scan_event_handler(struct net_mgmt_event_callback *cb, uint64_t mgmt_event, struct net_if *iface);

int korra_wifi_scan(k_timeout_t timeout)
{
    struct net_if *iface = get_wifi_iface();
    struct wifi_scan_params scan_params = {0};

    net_mgmt_init_event_callback(&wifi_scan_cb,
                                 wifi_scan_event_handler,
                                 NET_EVENT_WIFI_SCAN_RESULT | NET_EVENT_WIFI_SCAN_DONE);
    net_mgmt_add_event_callback(&wifi_scan_cb);

    scan_result = 0U;
    int ret = net_mgmt(NET_REQUEST_WIFI_SCAN, iface, &scan_params, sizeof(scan_params));
    if (ret)
    {
        LOG_WRN("Scan request failed: %d", ret);
        return ret;
    }

    // wait for scanning to complete
    return k_sem_take(&sem_wifi_scan, timeout);
}

static void wifi_scan_event_handler(struct net_mgmt_event_callback *cb, uint64_t mgmt_event, struct net_if *iface)
{
    if (mgmt_event == NET_EVENT_WIFI_SCAN_RESULT)
    {
        const struct wifi_scan_result *entry = (const struct wifi_scan_result *)cb->info;
        uint8_t mac_string_buf[sizeof("xx:xx:xx:xx:xx:xx")];
        uint8_t ssid_print[WIFI_SSID_MAX_LEN + 1];

        scan_result++;

        if (scan_result == 1U)
        {
            printk("%-4s | %-32s | %-13s | %-4s | %-20s | %-17s | %-8s\n",
                   "Num", "SSID", "Chan (Band)", "RSSI", "Security", "BSSID", "MFP");
        }

        strncpy(ssid_print, entry->ssid, sizeof(ssid_print) - 1);
        ssid_print[sizeof(ssid_print) - 1] = '\0';

        if (entry->mac_length)
            snprintf(mac_string_buf, sizeof(mac_string_buf), FMT_LL_ADDR_6, PRINT_LL_ADDR_6(entry->mac));

        printk("%-4d | %-32s | %-4u (%-6s) | %-4d | %-20s | %-17s | %-8s\n",
               scan_result,
               ssid_print,
               entry->channel,
               wifi_band_txt(entry->band),
               entry->rssi,
               ((entry->wpa3_ent_type) ? wifi_wpa3_enterprise_txt(entry->wpa3_ent_type) : wifi_security_txt(entry->security)),
               ((entry->mac_length) ? mac_string_buf : (const uint8_t *)""),
               wifi_mfp_txt(entry->mfp));
    }
    else if (mgmt_event == NET_EVENT_WIFI_SCAN_DONE)
    {
        const struct wifi_status *status = (const struct wifi_status *)cb->info;
        if (status->status)
        {
            LOG_WRN("Scan failed: (%d)", status->status);
        }
        else
        {
            LOG_DBG("Scan done");
        }

        k_sem_give(&sem_wifi_scan);                 // signal scan complete
        net_mgmt_del_event_callback(&wifi_scan_cb); // unregister because we do not need it till next scan
    }
}
#endif // CONFIG_WIFI_SCAN_NETWORKS

#endif // CONFIG_BOARD_HAS_WIFI
```

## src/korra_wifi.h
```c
#ifdef CONFIG_BOARD_HAS_WIFI

#ifndef KORRA_WIFI_H_
#define KORRA_WIFI_H_

#include <zephyr/kernel.h>
#include <zephyr/net/wifi_mgmt.h>

/** Initialize the WiFi logic */
extern void korra_wifi_init();

/** Connect to the configured WiFi network */
extern int korra_wifi_connect();

extern int korra_wifi_status(struct wifi_iface_status *status);
extern int korra_wifi_scan(k_timeout_t timeout);

#ifdef CONFIG_WIFI_SCAN_NETWORKS
extern int korra_wifi_scan(k_timeout_t timeout);
#endif // CONFIG_WIFI_SCAN_NETWORKS

#endif // KORRA_WIFI_H_

#endif // CONFIG_BOARD_HAS_WIFI
```

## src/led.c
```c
// #include <zephyr/logging/log.h>
// LOG_MODULE_REGISTER(main, LOG_LEVEL_INF);

// #include <errno.h>
// #include <string.h>

// #include <zephyr/kernel.h>
// #include <zephyr/device.h>
// #include <zephyr/sys/util.h>

// #include <app_version.h>

// #define DELAY_TIME K_MSEC(500)

// #ifdef CONFIG_LED_STRIP
// #include <zephyr/drivers/led_strip.h>

// #define STRIP_NODE			DT_ALIAS(led_strip)

// #if DT_NODE_HAS_PROP(STRIP_NODE, chain_length)
// #define STRIP_NUM_PIXELS	DT_PROP(STRIP_NODE, chain_length)
// #else
// #error Unable to determine length of LED strip
// #endif

// #define RGB(_r, _g, _b) { .r = (_r), .g = (_g), .b = (_b) }

// static const struct led_rgb colors[] = {
// 	RGB(0x0f, 0x00, 0x00), /* red */
// 	RGB(0x00, 0x0f, 0x00), /* green */
// 	RGB(0x00, 0x00, 0x0f), /* blue */
// };

// static struct led_rgb pixels[STRIP_NUM_PIXELS];

// static const struct device *const strip = DEVICE_DT_GET(STRIP_NODE);
// #endif

// int main(void)
// {
// 	LOG_INF("App version: %s", APP_VERSION_STRING);

// #ifdef CONFIG_LED_STRIP
// 	size_t color = 0;
// 	int rc;

// 	if (device_is_ready(strip)) {
// 		LOG_INF("Found LED strip device %s", strip->name);
// 	} else {
// 		LOG_ERR("LED strip device %s is not ready", strip->name);
// 		return 0;
// 	}

// 	LOG_INF("Displaying pattern on strip");
// 	while (1) {
// 		for (size_t cursor = 0; cursor < ARRAY_SIZE(pixels); cursor++) {
// 			memset(&pixels, 0x00, sizeof(pixels));
// 			memcpy(&pixels[cursor], &colors[color], sizeof(struct led_rgb));

// 			rc = led_strip_update_rgb(strip, pixels, STRIP_NUM_PIXELS);
// 			if (rc) {
// 				LOG_ERR("couldn't update strip: %d", rc);
// 			}

// 			k_sleep(DELAY_TIME);
// 		}

// 		color = (color + 1) % ARRAY_SIZE(colors);
// 	}
// #else
// 	LOG_INF("No LED functionality configured");
// 	k_sleep(K_FOREVER);
// 	LOG_ERR("This should not happen!!!");
// #endif

// 	return 0;
// }
```

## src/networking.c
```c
#include <errno.h>
#include <zephyr/logging/log.h>
#include <zephyr/kernel.h>

#include "networking.h"

#define LOG_LEVEL LOG_LEVEL_DBG
LOG_MODULE_REGISTER(networking);

static struct net_mgmt_event_callback network_cb;
K_SEM_DEFINE(sem_internet, 0, 1);

#if CONFIG_WIFI
#include <zephyr/net/wifi_mgmt.h>
static int wifi_init();
static int wifi_connect();
#endif // CONFIG_WIFI

static void on_network_event(struct net_mgmt_event_callback *cb, uint32_t mgmt_event, struct net_if *iface);

int networking_init()
{
    int ret = 0;

    // Initialize and add event callbacks for network
    // Combining IPV4 and IPV6 does not work, we assume that IPv4 addresses will always be there
    // Registering two callbacks will result in two calls (one for each)
    net_mgmt_init_event_callback(&network_cb,
                                 on_network_event,
                                 NET_EVENT_IPV4_ADDR_ADD | NET_EVENT_IPV4_ADDR_DEL);
    net_mgmt_add_event_callback(&network_cb);

#if CONFIG_WIFI
    ret = wifi_init();
    if (ret) return ret;
    return wifi_connect();
#else
    return -ENOTSUP;
#endif // CONFIG_WIFI
}

static void on_network_event(struct net_mgmt_event_callback *cb, uint32_t mgmt_event, struct net_if *iface)
{
    if (mgmt_event == NET_EVENT_IPV4_ADDR_ADD) {
        k_sem_give(&sem_internet);
    } else if (mgmt_event == NET_EVENT_IPV4_ADDR_DEL) {
        k_sem_take(&sem_internet, K_FOREVER);
    }
}

#if CONFIG_WIFI
static struct net_mgmt_event_callback wifi_cb;
static struct k_work_delayable wifi_work;
static void wifi_work_handler(struct k_work *work);
static void on_wifi_event(struct net_mgmt_event_callback *cb, uint32_t mgmt_event, struct net_if *iface);
#if CONFIG_WIFI_SCAN_NETWORKS
static uint32_t scan_result;
static struct net_mgmt_event_callback wifi_scan_cb;
static K_SEM_DEFINE(sem_wifi_scan, 0, 1);
static void on_wifi_scan_event(struct net_mgmt_event_callback *cb, uint32_t mgmt_event, struct net_if *iface);
#endif // CONFIG_WIFI_SCAN_NETWORKS

#ifdef CONFIG_WIFI_NM_WPA_SUPPLICANT_CRYPTO_ENTERPRISE
static const char ca_cert_test[] = {
	#include <wifi_enterprise_test_certs/ca.pem.inc>
	'\0'
};

static const char client_cert_test[] = {
	#include <wifi_enterprise_test_certs/client.pem.inc>
	'\0'
};

static const char client_key_test[] = {
	#include <wifi_enterprise_test_certs/client-key.pem.inc>
	'\0'
};

static const char ca_cert2_test[] = {
	#include <wifi_enterprise_test_certs/ca2.pem.inc>
	'\0'};

static const char client_cert2_test[] = {
	#include <wifi_enterprise_test_certs/client2.pem.inc>
	'\0'};

static const char client_key2_test[] = {
	#include <wifi_enterprise_test_certs/client-key2.pem.inc>
	'\0'};
#endif // CONFIG_WIFI_NM_WPA_SUPPLICANT_CRYPTO_ENTERPRISE

static int wifi_init()
{
    LOG_INF("WiFi initializing");

    // Initialize and add event callbacks for WiFi
    net_mgmt_init_event_callback(&wifi_cb,
                                 on_wifi_event,
                                 NET_EVENT_WIFI_CONNECT_RESULT | NET_EVENT_WIFI_DISCONNECT_RESULT);
    net_mgmt_add_event_callback(&wifi_cb);

#if CONFIG_WIFI_SCAN_NETWORKS
    net_mgmt_init_event_callback(&wifi_scan_cb,
                                 on_wifi_scan_event,
                                 NET_EVENT_WIFI_SCAN_RESULT | NET_EVENT_WIFI_SCAN_DONE);
    net_mgmt_add_event_callback(&wifi_scan_cb);
#endif // CONFIG_WIFI_SCAN_NETWORKS

    // Initialize work item
    k_work_init_delayable(&wifi_work, wifi_work_handler);

    return 0;
}

static int wifi_connect()
{
    int ret;
    struct net_if *iface;
    struct wifi_connect_req_params con_req_params = { 0 };
#if CONFIG_WIFI_SCAN_NETWORKS
	struct wifi_scan_params scan_params = { 0 };
#endif // CONFIG_WIFI_SCAN_NETWORKS

    iface = net_if_get_wifi_sta();

#if CONFIG_WIFI_SCAN_NETWORKS
    scan_result = 0U;
    ret = net_mgmt(NET_REQUEST_WIFI_SCAN, iface, &scan_params, sizeof(scan_params));
    if (ret) {
        LOG_WRN("WiFi Scan request failed: %d", ret);
    }
    k_sem_take(&sem_wifi_scan, K_FOREVER); // wait for scanning to complete
#endif // CONFIG_WIFI_SCAN_NETWORKS

	/* Defaults */
    con_req_params.band = WIFI_FREQ_BAND_UNKNOWN;
    con_req_params.channel = WIFI_CHANNEL_ANY;
	con_req_params.security = WIFI_SECURITY_TYPE_NONE;
    con_req_params.mfp = WIFI_MFP_OPTIONAL;
    con_req_params.eap_ver = 1;
    con_req_params.verify_peer_cert = false;

    con_req_params.ssid = CONFIG_WIFI_SSID;
    con_req_params.ssid_length = strlen(con_req_params.ssid);

#if CONFIG_WIFI_ENTERPRISE
    con_req_params.security = WIFI_SECURITY_TYPE_EAP_TTLS_MSCHAPV2;
    con_req_params.anon_id = CONFIG_WIFI_ENTERPRISE_ANON_ID;
    con_req_params.aid_length = strlen(con_req_params.anon_id);
    con_req_params.eap_identity = CONFIG_WIFI_ENTERPRISE_IDENTITY;
    con_req_params.eap_id_length = strlen(con_req_params.eap_identity);
    con_req_params.eap_password = CONFIG_WIFI_ENTERPRISE_PASSWORD;
    con_req_params.eap_passwd_length = strlen(con_req_params.eap_password);

    con_req_params.identities[0] = con_req_params.eap_identity;
    con_req_params.nusers = 1;
    con_req_params.passwords[0] = con_req_params.eap_password;
    con_req_params.passwds = 1;
#else
    if (strlen(CONFIG_WIFI_PSK) > 0) {
        con_req_params.security = WIFI_SECURITY_TYPE_PSK;
        con_req_params.psk = CONFIG_WIFI_PSK;
        con_req_params.psk_length = strlen(CONFIG_WIFI_PSK);
    }
#endif

    if (con_req_params.security == WIFI_SECURITY_TYPE_EAP_TLS ||
	    con_req_params.security == WIFI_SECURITY_TYPE_EAP_PEAP_MSCHAPV2 ||
	    con_req_params.security == WIFI_SECURITY_TYPE_EAP_PEAP_GTC ||
	    con_req_params.security == WIFI_SECURITY_TYPE_EAP_TTLS_MSCHAPV2 ||
	    con_req_params.security == WIFI_SECURITY_TYPE_EAP_PEAP_TLS) {

#ifdef CONFIG_WIFI_NM_WPA_SUPPLICANT_CRYPTO_ENTERPRISE
        struct wifi_enterprise_creds_params ent_params = { 0 };
        ent_params.ca_cert = (uint8_t *)ca_cert_test;
        ent_params.ca_cert_len = ARRAY_SIZE(ca_cert_test);
        ent_params.client_cert = (uint8_t *)client_cert_test;
        ent_params.client_cert_len = ARRAY_SIZE(client_cert_test);
        ent_params.client_key = (uint8_t *)client_key_test;
        ent_params.client_key_len = ARRAY_SIZE(client_key_test);
        ent_params.ca_cert2 = (uint8_t *)ca_cert2_test;
        ent_params.ca_cert2_len = ARRAY_SIZE(ca_cert2_test);
        ent_params.client_cert2 = (uint8_t *)client_cert2_test;
        ent_params.client_cert2_len = ARRAY_SIZE(client_cert2_test);
        ent_params.client_key2 = (uint8_t *)client_key2_test;
        ent_params.client_key2_len = ARRAY_SIZE(client_key2_test);

        ret = net_mgmt(NET_REQUEST_WIFI_ENTERPRISE_CREDS, iface, &ent_params, sizeof(ent_params));
        if (ret) {
            LOG_WRN("WiFi set enterprise credentials failed: %d", ret);
            return ret;
        }
#else
        LOG_ERR("WiFi security configured to enterprise but CONFIG_WIFI_NM_WPA_SUPPLICANT_CRYPTO_ENTERPRISE is not set");
        return -ENOTSUP;
#endif // CONFIG_WIFI_NM_WPA_SUPPLICANT_CRYPTO_ENTERPRISE

	}

    // Connect to the WiFi network
    LOG_INF("WiFi connecting to \"%s\"", con_req_params.ssid);
    ret = net_mgmt(NET_REQUEST_WIFI_CONNECT, iface, &con_req_params, sizeof(con_req_params));
    if (ret) {
        LOG_ERR("WiFi connect request failed: %d", ret);
    }

    return ret;
}

static void wifi_work_handler(struct k_work *work)
{
    int ret = wifi_connect();
    if (ret) {
        LOG_ERR("WiFi reconnection failed, retrying in 5 seconds...");
        k_work_schedule(&wifi_work, K_SECONDS(5)); // Schedule reconnection in 5 sec
    }
}

static void on_wifi_event(struct net_mgmt_event_callback *cb, uint32_t mgmt_event, struct net_if *iface)
{
    const struct wifi_status *status = (const struct wifi_status *)cb->info;

    if (mgmt_event == NET_EVENT_WIFI_CONNECT_RESULT) {
        if (status->status) {
            LOG_ERR("WiFi connection request failed: %d", status->status);
        } else {
            LOG_INF("WiFi connected! conn_status: %d", status->conn_status);
            struct net_if *iface = net_if_get_wifi_sta();
        	struct wifi_iface_status status = { 0 };
            int ret = net_mgmt(NET_REQUEST_WIFI_IFACE_STATUS, iface, &status, sizeof(struct wifi_iface_status));
            if (!ret) {
                uint8_t mac_string_buf[sizeof("xx:xx:xx:xx:xx:xx")];
                LOG_DBG("Link Mode: %s", wifi_link_mode_txt(status.link_mode));
                LOG_DBG("SSID: %.32s", status.ssid);
                net_sprint_ll_addr_buf(status.bssid, WIFI_MAC_ADDR_LEN, mac_string_buf, sizeof(mac_string_buf));
                LOG_DBG("BSSID: %s", mac_string_buf);
                LOG_DBG("Band: %s", wifi_band_txt(status.band));
                LOG_DBG("Channel: %d", status.channel);
                LOG_DBG("Security: %s", wifi_security_txt(status.security));
                LOG_DBG("RSSI: %d", status.rssi);
            } else {
                LOG_WRN("WiFi status request failed: %d", ret);
            }
        }
    } else if (mgmt_event == NET_EVENT_WIFI_DISCONNECT_RESULT) {
        if (status->status) {
            LOG_ERR("WiFi disconnection request failed: %d", status->status);
        } else {
            LOG_INF("WiFi disconnected! disconn_reason: %d", status->disconn_reason);
            k_work_schedule(&wifi_work, K_NO_WAIT); // Schedule reconnection immediately
        }
    }
}

#if CONFIG_WIFI_SCAN_NETWORKS
static void on_wifi_scan_event(struct net_mgmt_event_callback *cb, uint32_t mgmt_event, struct net_if *iface)
{
    if (mgmt_event == NET_EVENT_WIFI_SCAN_RESULT) {
        const struct wifi_scan_result *entry = (const struct wifi_scan_result *)cb->info;
    	uint8_t mac_string_buf[sizeof("xx:xx:xx:xx:xx:xx")];
    	uint8_t ssid_print[WIFI_SSID_MAX_LEN + 1];

        scan_result++;

        if (scan_result == 1U) {
            printk("%-4s | %-32s | %-13s | %-4s | %-20s | %-17s | %-8s\n",
                   "Num", "SSID", "Chan (Band)", "RSSI", "Security", "BSSID", "MFP");
        }

        strncpy(ssid_print, entry->ssid, sizeof(ssid_print) - 1);
        ssid_print[sizeof(ssid_print) - 1] = '\0';

        if (entry->mac_length)
            net_sprint_ll_addr_buf(entry->mac, WIFI_MAC_ADDR_LEN, mac_string_buf, sizeof(mac_string_buf));

        printk("%-4d | %-32s | %-4u (%-6s) | %-4d | %-20s | %-17s | %-8s\n",
               scan_result,
               ssid_print,
               entry->channel,
               wifi_band_txt(entry->band),
               entry->rssi,
               ((entry->wpa3_ent_type) ? wifi_wpa3_enterprise_txt(entry->wpa3_ent_type) : wifi_security_txt(entry->security)),
               ((entry->mac_length) ? mac_string_buf : (const uint8_t *)""),
               wifi_mfp_txt(entry->mfp));
    } else if (mgmt_event == NET_EVENT_WIFI_SCAN_DONE) {
        const struct wifi_status *status = (const struct wifi_status *)cb->info;
        if (status->status) {
            LOG_WRN("WiFi Scan failed: (%d)", status->status);
        } else {
            LOG_DBG("WiFi Scan done");
        }

        scan_result = 0U;
        k_sem_give(&sem_wifi_scan); // signal scan complete
    }
}
#endif // CONFIG_WIFI_SCAN_NETWORKS

#endif // CONFIG_WIFI
```

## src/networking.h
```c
#ifndef NETWORKING_H_
#define NETWORKING_H_

#include <zephyr/kernel.h>

extern int networking_init();

/** Semaphore that indicates internet availability. */
extern struct k_sem sem_internet;

#endif // NETWORKING_H_
```
